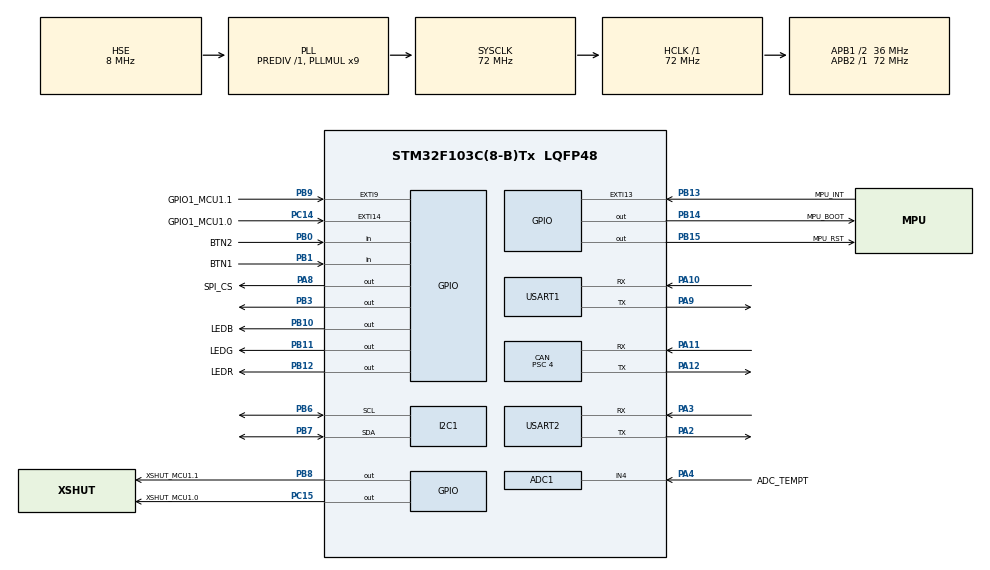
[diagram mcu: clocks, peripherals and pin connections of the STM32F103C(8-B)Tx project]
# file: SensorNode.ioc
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ADC1.Channel-2\#ChannelRegularConversion=ADC_CHANNEL_4
ADC1.NbrOfConversionFlag=1
ADC1.Rank-2\#ChannelRegularConversion=1
ADC1.SamplingTime-2\#ChannelRegularConversion=ADC_SAMPLETIME_1CYCLE_5
ADC1.master=1
CAN.BS1=CAN_BS1_13TQ
CAN.BS2=CAN_BS2_4TQ
CAN.CalculateBaudRate=500000
CAN.CalculateTimeBit=2000
CAN.CalculateTimeQuantum=111.11111111111111
CAN.Prescaler=4
CAN.SJW=CAN_SJW_2TQ
Mcu.Family=STM32F1
Mcu.Name=STM32F103C(8-B)Tx
Mcu.Package=LQFP48
NVIC.CAN1_RX1_IRQn=true\:0\:0\:false\:false\:true\:true\:true\:true
NVIC.PriorityGroup=NVIC_PRIORITYGROUP_4
PA10.Mode=Asynchronous
PA10.Signal=USART1_RX
PA11.Mode=CAN_Activate
PA11.Signal=CAN_RX
PA12.Mode=CAN_Activate
PA12.Signal=CAN_TX
PA2.Mode=Asynchronous
PA2.Signal=USART2_TX
PA3.Mode=Asynchronous
PA3.Signal=USART2_RX
PA4.GPIO_Label=ADC_TEMPT
PA4.Signal=SharedAnalog_PA4
PA8.GPIO_Label=SPI_CS
PA8.Signal=GPIO_Output
PA9.Mode=Asynchronous
PA9.Signal=USART1_TX
PB0.GPIO_Label=BTN2
PB0.Signal=GPIO_Input
PB1.GPIO_Label=BTN1
PB1.Signal=GPIO_Input
PB10.GPIO_Label=LEDB
PB10.PinState=GPIO_PIN_SET
PB10.Signal=GPIO_Output
PB11.GPIO_Label=LEDG
PB11.PinState=GPIO_PIN_SET
PB11.Signal=GPIO_Output
PB12.GPIO_Label=LEDR
PB12.PinState=GPIO_PIN_SET
PB12.Signal=GPIO_Output
PB13.GPIO_Label=MPU_INT
PB13.Signal=GPXTI13
PB14.GPIO_Label=MPU_BOOT
PB14.Signal=GPIO_Output
PB15.GPIO_Label=MPU_RST
PB15.Signal=GPIO_Output
PB3.PinState=GPIO_PIN_SET
PB3.Signal=GPIO_Output
PB6.Mode=I2C
PB6.Signal=I2C1_SCL
PB7.Mode=I2C
PB7.Signal=I2C1_SDA
PB8.GPIO_Label=XSHUT_MCU1.1
PB8.Signal=GPIO_Output
PB9.GPIO_Label=GPIO1_MCU1.1
PB9.Signal=GPXTI9
PC14-OSC32_IN.GPIO_Label=GPIO1_MCU1.0
PC14-OSC32_IN.Signal=GPXTI14
PC15-OSC32_OUT.GPIO_Label=XSHUT_MCU1.0
PC15-OSC32_OUT.Signal=GPIO_Output
PD0-OSC_IN.Mode=HSE-External-Oscillator
PD0-OSC_IN.Signal=RCC_OSC_IN
PD1-OSC_OUT.Mode=HSE-External-Oscillator
PD1-OSC_OUT.Signal=RCC_OSC_OUT
ProjectManager.HeapSize=0x200
ProjectManager.StackSize=0x400
ProjectManager.TargetToolchain=STM32CubeIDE
RCC.ADCPresc=RCC_ADCPCLK2_DIV6
RCC.AHBFreq_Value=72000000
RCC.APB1CLKDivider=RCC_HCLK_DIV2
RCC.APB1Freq_Value=36000000
RCC.APB1TimFreq_Value=72000000
RCC.APB2Freq_Value=72000000
RCC.APB2TimFreq_Value=72000000
RCC.HCLKFreq_Value=72000000
RCC.PLLMUL=RCC_PLL_MUL9
RCC.PLLSourceVirtual=RCC_PLLSOURCE_HSE
RCC.SYSCLKFreq_VALUE=72000000
RCC.SYSCLKSource=RCC_SYSCLKSOURCE_PLLCLK
RCC.USBFreq_Value=72000000
SH.SharedAnalog_PA4.0=GPIO_Analog
SH.SharedAnalog_PA4.1=ADC1_IN4,IN4
USART1.VirtualMode=VM_ASYNC
USART2.VirtualMode=VM_ASYNC
board=custom

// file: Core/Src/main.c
/* USER CODE BEGIN Header */
/**
  ******************************************************************************
  * @file           : main.c
  * @brief          : Main program body
  ******************************************************************************
  * @attention
  *
  * Copyright (c) 2023 STMicroelectronics.
  * All rights reserved.
  *
  * This software is licensed under terms that can be found in the LICENSE file
  * in the root directory of this software component.
  * If no LICENSE file comes with this software, it is provided AS-IS.
  *
  ******************************************************************************
  */
/* USER CODE END Header */

#include "main.h"

/* USER CODE BEGIN Includes */
#include "uart.h"
#include "can_diagnostic_tester.h"
/* USER CODE END Includes */

ADC_HandleTypeDef hadc1;

CAN_HandleTypeDef hcan;

I2C_HandleTypeDef hi2c1;

UART_HandleTypeDef huart1;
UART_HandleTypeDef huart2;

/* USER CODE BEGIN PV */
/* CAN Tx variables */
const uint8_t first_value = 0x01;
const uint8_t second_value = 0x02;
CAN_TxHeaderTypeDef CANTxHeader;
uint8_t CANTxBuffer[] = {0x01, 0x02, 0x00, 0x00, 0x00, 0x00, 0x00, 0x00};
uint32_t CANTxMailboxes = CAN_TX_MAILBOX0;
/* CAN Rx variables */
extern uint8_t CANRxBuffer[];
extern uint8_t CANDiagnosticResponseRcvFlag;
extern CAN_RxHeaderTypeDef CANRxHeader;
/* USER CODE END PV */

void SystemClock_Config(void);
static void MX_GPIO_Init(void);
static void MX_ADC1_Init(void);
static void MX_CAN_Init(void);
static void MX_I2C1_Init(void);
static void MX_USART1_UART_Init(void);
static void MX_USART2_UART_Init(void);

/* USER CODE BEGIN 0 */
//void CANTransmit()
//{
//	CANTxHeader.StdId 	= CAN_TX_STD_ID;
//	CANTxHeader.IDE 	= CAN_ID_STD;
//	CANTxHeader.RTR 	= CAN_RTR_DATA;
//	CANTxHeader.DLC 	= CAN_DATA_LENGTH;
//
//	CANTxBuffer[7] 		= (CANTxBuffer[7] + 1)%255;
//
//	if (HAL_CAN_AddTxMessage(&hcan, &CANTxHeader, CANTxBuffer, &CANTxMailboxes) == HAL_OK)
//	{
//		HAL_GPIO_TogglePin(GPIO_Port, LEDR_Pin);
//	}
//}
/* USER CODE END 0 */

int main(void)
{

  /* MCU Configuration--------------------------------------------------------*/

  /* Reset of all peripherals, Initializes the Flash interface and the Systick. */
  HAL_Init();

  /* Configure the system clock */
  SystemClock_Config();

  /* Initialize all configured peripherals */
  MX_GPIO_Init();
  MX_ADC1_Init();
  MX_CAN_Init();
  MX_I2C1_Init();
  MX_USART1_UART_Init();
  MX_USART2_UART_Init();
  /* USER CODE BEGIN 2 */
  if (HAL_CAN_Start(&hcan) != HAL_OK)
  {
	  Error_Handler();
  }
  HAL_CAN_ActivateNotification(&hcan, CAN_IT_RX_FIFO1_MSG_PENDING);
  printf("Sensor\n");
  /* USER CODE END 2 */

  /* Infinite loop */
  /* USER CODE BEGIN WHILE */
  while (1)
  {
//	readDataByIdenfierRequest(&hcan);
//	  writeShortDataByIdentifierRequest(&hcan);
	  securityAccessSeedRequest(&hcan);
	while (CANDiagnosticResponseRcvFlag != 1);
	{
		CANDiagnosticResponseRcvFlag = 0;
//		readDataByIdenfierResponseCheck(CANRxBuffer);
//		writeDataByIdenfierResponseCheck(CANRxBuffer);
		if (securityAccessSeedResponseCheck(CANRxBuffer))
		{
			securityAccessUnlockRequest(&hcan);
			HAL_Delay(100);
			while (CANDiagnosticResponseRcvFlag != 1);
			{
				CANDiagnosticResponseRcvFlag = 0;
				if (flowControlCheck(CANRxBuffer))
				{
					HAL_GPIO_TogglePin(GPIO_Port, LEDB_Pin);
					securityRemainKeySend(&hcan);
					while (CANDiagnosticResponseRcvFlag != 1);
					CANDiagnosticResponseRcvFlag = 0;
				}
			}
		}
	}
    /* USER CODE END WHILE */

  }
}

void SystemClock_Config(void)
{
  RCC_OscInitTypeDef RCC_OscInitStruct = {0};
  RCC_ClkInitTypeDef RCC_ClkInitStruct = {0};
  RCC_PeriphCLKInitTypeDef PeriphClkInit = {0};

  /** Initializes the RCC Oscillators according to the specified parameters
  * in the RCC_OscInitTypeDef structure.
  */
  RCC_OscInitStruct.OscillatorType = RCC_OSCILLATORTYPE_HSE;
  RCC_OscInitStruct.HSEState = RCC_HSE_ON;
  RCC_OscInitStruct.HSEPredivValue = RCC_HSE_PREDIV_DIV1;
  RCC_OscInitStruct.HSIState = RCC_HSI_ON;
  RCC_OscInitStruct.PLL.PLLState = RCC_PLL_ON;
  RCC_OscInitStruct.PLL.PLLSource = RCC_PLLSOURCE_HSE;
  RCC_OscInitStruct.PLL.PLLMUL = RCC_PLL_MUL9;
  if (HAL_RCC_OscConfig(&RCC_OscInitStruct) != HAL_OK)
  {
    Error_Handler();
  }

  /** Initializes the CPU, AHB and APB buses clocks
  */
  RCC_ClkInitStruct.ClockType = RCC_CLOCKTYPE_HCLK|RCC_CLOCKTYPE_SYSCLK
                              |RCC_CLOCKTYPE_PCLK1|RCC_CLOCKTYPE_PCLK2;
  RCC_ClkInitStruct.SYSCLKSource = RCC_SYSCLKSOURCE_PLLCLK;
  RCC_ClkInitStruct.AHBCLKDivider = RCC_SYSCLK_DIV1;
  RCC_ClkInitStruct.APB1CLKDivider = RCC_HCLK_DIV2;
  RCC_ClkInitStruct.APB2CLKDivider = RCC_HCLK_DIV1;

  if (HAL_RCC_ClockConfig(&RCC_ClkInitStruct, FLASH_LATENCY_2) != HAL_OK)
  {
    Error_Handler();
  }
  PeriphClkInit.PeriphClockSelection = RCC_PERIPHCLK_ADC;
  PeriphClkInit.AdcClockSelection = RCC_ADCPCLK2_DIV6;
  if (HAL_RCCEx_PeriphCLKConfig(&PeriphClkInit) != HAL_OK)
  {
    Error_Handler();
  }
}

static void MX_ADC1_Init(void)
{

  ADC_ChannelConfTypeDef sConfig = {0};

  /** Common config
  */
  hadc1.Instance = ADC1;
  hadc1.Init.ScanConvMode = ADC_SCAN_DISABLE;
  hadc1.Init.ContinuousConvMode = DISABLE;
  hadc1.Init.DiscontinuousConvMode = DISABLE;
  hadc1.Init.ExternalTrigConv = ADC_SOFTWARE_START;
  hadc1.Init.DataAlign = ADC_DATAALIGN_RIGHT;
  hadc1.Init.NbrOfConversion = 1;
  if (HAL_ADC_Init(&hadc1) != HAL_OK)
  {
    Error_Handler();
  }

  /** Configure Regular Channel
  */
  sConfig.Channel = ADC_CHANNEL_4;
  sConfig.Rank = ADC_REGULAR_RANK_1;
  sConfig.SamplingTime = ADC_SAMPLETIME_1CYCLE_5;
  if (HAL_ADC_ConfigChannel(&hadc1, &sConfig) != HAL_OK)
  {
    Error_Handler();
  }

}

static void MX_CAN_Init(void)
{

  hcan.Instance = CAN1;
  hcan.Init.Prescaler = 4;
  hcan.Init.Mode = CAN_MODE_NORMAL;
  hcan.Init.SyncJumpWidth = CAN_SJW_2TQ;
  hcan.Init.TimeSeg1 = CAN_BS1_13TQ;
  hcan.Init.TimeSeg2 = CAN_BS2_4TQ;
  hcan.Init.TimeTriggeredMode = DISABLE;
  hcan.Init.AutoBusOff = DISABLE;
  hcan.Init.AutoWakeUp = DISABLE;
  hcan.Init.AutoRetransmission = DISABLE;
  hcan.Init.ReceiveFifoLocked = DISABLE;
  hcan.Init.TransmitFifoPriority = DISABLE;
  if (HAL_CAN_Init(&hcan) != HAL_OK)
  {
    Error_Handler();
  }
  /* USER CODE BEGIN CAN_Init 2 */
  CAN_FilterTypeDef canfilterconfig;

  canfilterconfig.FilterActivation = CAN_FILTER_ENABLE;
  canfilterconfig.FilterBank = 12;  // which filter bank to use from the assigned ones
  canfilterconfig.FilterFIFOAssignment = CAN_FILTER_FIFO1;
  canfilterconfig.FilterIdHigh = CAN_DIAGNOSTIC_RESPONSE_ID<<5;
  canfilterconfig.FilterIdLow = 0;
  canfilterconfig.FilterMaskIdHigh = CAN_DIAGNOSTIC_RESPONSE_ID<<5;
  canfilterconfig.FilterMaskIdLow = 0x0000;
  canfilterconfig.FilterMode = CAN_FILTERMODE_IDMASK;
  canfilterconfig.FilterScale = CAN_FILTERSCALE_32BIT;
  canfilterconfig.SlaveStartFilterBank = 13;  // how many filters to assign to the CAN1 (master can)

  HAL_CAN_ConfigFilter(&hcan, &canfilterconfig);
  /* USER CODE END CAN_Init 2 */

}

static void MX_I2C1_Init(void)
{

  hi2c1.Instance = I2C1;
  hi2c1.Init.ClockSpeed = 100000;
  hi2c1.Init.DutyCycle = I2C_DUTYCYCLE_2;
  hi2c1.Init.OwnAddress1 = 0;
  hi2c1.Init.AddressingMode = I2C_ADDRESSINGMODE_7BIT;
  hi2c1.Init.DualAddressMode = I2C_DUALADDRESS_DISABLE;
  hi2c1.Init.OwnAddress2 = 0;
  hi2c1.Init.GeneralCallMode = I2C_GENERALCALL_DISABLE;
  hi2c1.Init.NoStretchMode = I2C_NOSTRETCH_DISABLE;
  if (HAL_I2C_Init(&hi2c1) != HAL_OK)
  {
    Error_Handler();
  }

}

static void MX_USART1_UART_Init(void)
{

  huart1.Instance = USART1;
  huart1.Init.BaudRate = 115200;
  huart1.Init.WordLength = UART_WORDLENGTH_8B;
  huart1.Init.StopBits = UART_STOPBITS_1;
  huart1.Init.Parity = UART_PARITY_NONE;
  huart1.Init.Mode = UART_MODE_TX_RX;
  huart1.Init.HwFlowCtl = UART_HWCONTROL_NONE;
  huart1.Init.OverSampling = UART_OVERSAMPLING_16;
  if (HAL_UART_Init(&huart1) != HAL_OK)
  {
    Error_Handler();
  }

}

static void MX_USART2_UART_Init(void)
{

  huart2.Instance = USART2;
  huart2.Init.BaudRate = 115200;
  huart2.Init.WordLength = UART_WORDLENGTH_8B;
  huart2.Init.StopBits = UART_STOPBITS_1;
  huart2.Init.Parity = UART_PARITY_NONE;
  huart2.Init.Mode = UART_MODE_TX_RX;
  huart2.Init.HwFlowCtl = UART_HWCONTROL_NONE;
  huart2.Init.OverSampling = UART_OVERSAMPLING_16;
  if (HAL_UART_Init(&huart2) != HAL_OK)
  {
    Error_Handler();
  }

}

static void MX_GPIO_Init(void)
{
  GPIO_InitTypeDef GPIO_InitStruct = {0};

  /* GPIO Ports Clock Enable */
  __HAL_RCC_GPIOC_CLK_ENABLE();
  __HAL_RCC_GPIOD_CLK_ENABLE();
  __HAL_RCC_GPIOA_CLK_ENABLE();
  __HAL_RCC_GPIOB_CLK_ENABLE();

  /*Configure GPIO pin Output Level */
  HAL_GPIO_WritePin(XSHUT_MCU1_0_GPIO_Port, XSHUT_MCU1_0_Pin, GPIO_PIN_RESET);

  /*Configure GPIO pin Output Level */
  HAL_GPIO_WritePin(GPIOB, LEDB_Pin|LEDG_Pin|LEDR_Pin|GPIO_PIN_3, GPIO_PIN_SET);

  /*Configure GPIO pin Output Level */
  HAL_GPIO_WritePin(GPIOB, MPU_BOOT_Pin|MPU_RST_Pin|XSHUT_MCU1_1_Pin, GPIO_PIN_RESET);

  /*Configure GPIO pin Output Level */
  HAL_GPIO_WritePin(SPI_CS_GPIO_Port, SPI_CS_Pin, GPIO_PIN_RESET);

  /*Configure GPIO pin : GPIO1_MCU1_0_Pin */
  GPIO_InitStruct.Pin = GPIO1_MCU1_0_Pin;
  GPIO_InitStruct.Mode = GPIO_MODE_IT_RISING;
  GPIO_InitStruct.Pull = GPIO_NOPULL;
  HAL_GPIO_Init(GPIO1_MCU1_0_GPIO_Port, &GPIO_InitStruct);

  /*Configure GPIO pin : XSHUT_MCU1_0_Pin */
  GPIO_InitStruct.Pin = XSHUT_MCU1_0_Pin;
  GPIO_InitStruct.Mode = GPIO_MODE_OUTPUT_PP;
  GPIO_InitStruct.Pull = GPIO_NOPULL;
  GPIO_InitStruct.Speed = GPIO_SPEED_FREQ_LOW;
  HAL_GPIO_Init(XSHUT_MCU1_0_GPIO_Port, &GPIO_InitStruct);

  /*Configure GPIO pins : BTN2_Pin BTN1_Pin */
  GPIO_InitStruct.Pin = BTN2_Pin|BTN1_Pin;
  GPIO_InitStruct.Mode = GPIO_MODE_INPUT;
  GPIO_InitStruct.Pull = GPIO_NOPULL;
  HAL_GPIO_Init(GPIOB, &GPIO_InitStruct);

  /*Configure GPIO pins : LEDB_Pin LEDG_Pin LEDR_Pin MPU_BOOT_Pin
                           MPU_RST_Pin PB3 XSHUT_MCU1_1_Pin */
  GPIO_InitStruct.Pin = LEDB_Pin|LEDG_Pin|LEDR_Pin|MPU_BOOT_Pin
                          |MPU_RST_Pin|GPIO_PIN_3|XSHUT_MCU1_1_Pin;
  GPIO_InitStruct.Mode = GPIO_MODE_OUTPUT_PP;
  GPIO_InitStruct.Pull = GPIO_NOPULL;
  GPIO_InitStruct.Speed = GPIO_SPEED_FREQ_LOW;
  HAL_GPIO_Init(GPIOB, &GPIO_InitStruct);

  /*Configure GPIO pins : MPU_INT_Pin GPIO1_MCU1_1_Pin */
  GPIO_InitStruct.Pin = MPU_INT_Pin|GPIO1_MCU1_1_Pin;
  GPIO_InitStruct.Mode = GPIO_MODE_IT_RISING;
  GPIO_InitStruct.Pull = GPIO_NOPULL;
  HAL_GPIO_Init(GPIOB, &GPIO_InitStruct);

  /*Configure GPIO pin : SPI_CS_Pin */
  GPIO_InitStruct.Pin = SPI_CS_Pin;
  GPIO_InitStruct.Mode = GPIO_MODE_OUTPUT_PP;
  GPIO_InitStruct.Pull = GPIO_NOPULL;
  GPIO_InitStruct.Speed = GPIO_SPEED_FREQ_LOW;
  HAL_GPIO_Init(SPI_CS_GPIO_Port, &GPIO_InitStruct);

}

void Error_Handler(void)
{
  __disable_irq();
  while (1)
  {
  }
}
